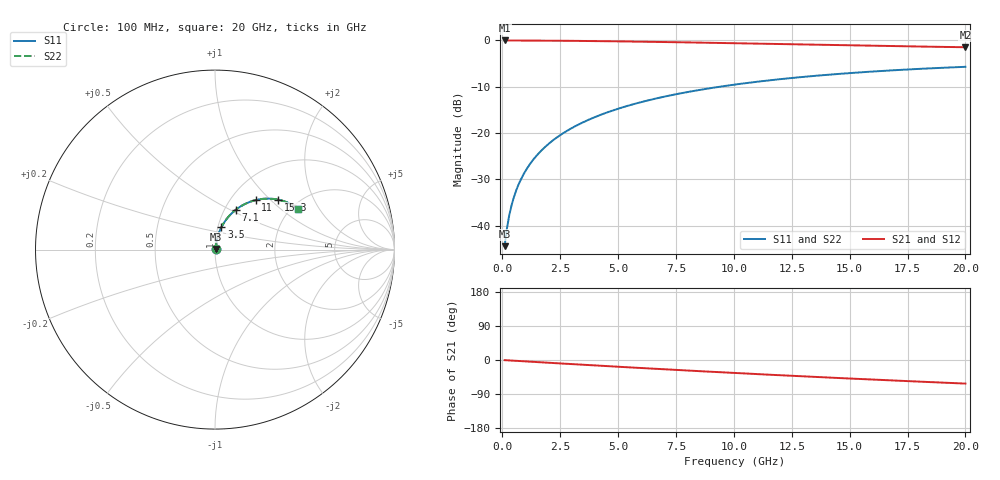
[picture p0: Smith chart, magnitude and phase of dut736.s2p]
! Touchstone file exported from HFSS 2026.1.0
!  File:  C:/ffzhzh/LocalFiles/Ansys_Project_Files/temp_train_TMRDL_736_1783155019_22436.aedt
!  Generated:  04:51:42 PM Jul  4, 2026
!  Design:  TMRDL
!  Project:  temp_train_TMRDL_736_1783155019_22436
! Variables:
!  h_bsmrdl = 2um
!  h_ox = 20um
!  h_rdl = 5um
!  h_sub = 80um
!  h_tmrdl = 4.6um
!  h_tsv = 80um
!  h_via = 3um
!  l_bsmrdl = 300um
!  l_sub = 1389.39um
!  l_tmrdl = 989.39um
!  m_sub = 200um
!  pitch = 45.84um
!  r_tsv = 6um
!  s_tmrdl = 10um
!  w_bsmrdl = 18um
!  w_sub = 500um
!  w_tmrdl = 17.92um
!  x_tsv_center1 = 998.35um
!  x_tsv_center2 = 1316.35um
!  x_tsv_center3 = 2323.66um
!  x_tsv_center4 = 2641.66um
!  x_tsv_center5 = 3648.97um
!  x_tsv_center6 = 3966.97um
# GHz S MA R 50.000000
! Terminal data exported
! Port[1] = TM_RDL1_1_T1
! Port[2] = TM_RDL1_1_T2
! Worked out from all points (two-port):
!   200 points, 100 MHz to 20 GHz, reference 50 ohm
!   highest |S21| = -0.04 dB at 100 MHz (marker M1); lowest = -1.5 dB at 20 GHz (marker M2)
!   |S21| within 3 dB of the highest: start of sweep to end of sweep
!   lowest |S11| = -44.4 dB at 100 MHz (marker M3), VSWR 1.01, Z = 50.4 + j0.412 ohm
!   |S11| at or under -10 dB: start of sweep to 9.426 GHz
!   |S22| runs from -44.4 to -5.7 dB; largest |S21 - S12| = 4.2e-15
!   S11 on the Smith chart (normalised r, x): 100 MHz: 1.01, +0.01; 3.5 GHz: 1.04, +0.27; 7.1 GHz: 1.13, +0.53; 11 GHz: 1.29, +0.82; 15.3 GHz: 1.60, +1.12; 20 GHz: 2.16, +1.35
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0.1  0.005991 43.0  0.9956 -0.4  0.9956 -0.4  0.005991 43.0
! Gamma 0 0 0 0
! Port Impedance 50 0 50 0
0.2  0.009302 59.9  0.9954 -0.8  0.9954 -0.8  0.009302 59.9
0.3  0.0129 67.2  0.9952 -1.1  0.9952 -1.1  0.0129 67.2
0.4  0.01655 71.2  0.995 -1.5  0.995 -1.5  0.01655 71.2
0.5  0.02023 73.7  0.9948 -1.8  0.9948 -1.8  0.02023 73.7
0.6  0.02392 75.4  0.9946 -2.2  0.9946 -2.2  0.02392 75.4
0.8  0.03136 77.3  0.9942 -2.9  0.9942 -2.9  0.03136 77.3
1.1  0.04259 78.5  0.9936 -4.0  0.9936 -4.0  0.04259 78.5
1.5  0.05756 78.7  0.9925 -5.5  0.9925 -5.5  0.05756 78.7
2.1  0.07989 77.8  0.9905 -7.6  0.9905 -7.6  0.07989 77.8
2.7  0.1019 76.3  0.9879 -9.8  0.9879 -9.8  0.1019 76.3
3.5  0.1307 74.0  0.9836 -12.6  0.9836 -12.6  0.1307 74.0
5  0.1824 69.2  0.9737 -17.8  0.9737 -17.8  0.1824 69.2
6.8  0.2403 63.5  0.9594 -23.8  0.9594 -23.8  0.2403 63.5
7.1  0.2495 62.5  0.9568 -24.8  0.9568 -24.8  0.2495 62.5
8.5  0.2906 58.1  0.9443 -29.4  0.9443 -29.4  0.2906 58.1
10.1  0.334 53.3  0.9292 -34.4  0.9292 -34.4  0.334 53.3
11  0.3567 50.6  0.9205 -37.2  0.9205 -37.2  0.3567 50.6
13.4  0.411 43.7  0.8972 -44.3  0.8972 -44.3  0.411 43.7
15.3  0.4478 38.5  0.8794 -49.7  0.8794 -49.7  0.4478 38.5
16.7  0.4716 34.7  0.867 -53.6  0.867 -53.6  0.4716 34.7
20  0.517 26.3  0.8411 -62.2  0.8411 -62.2  0.517 26.3
